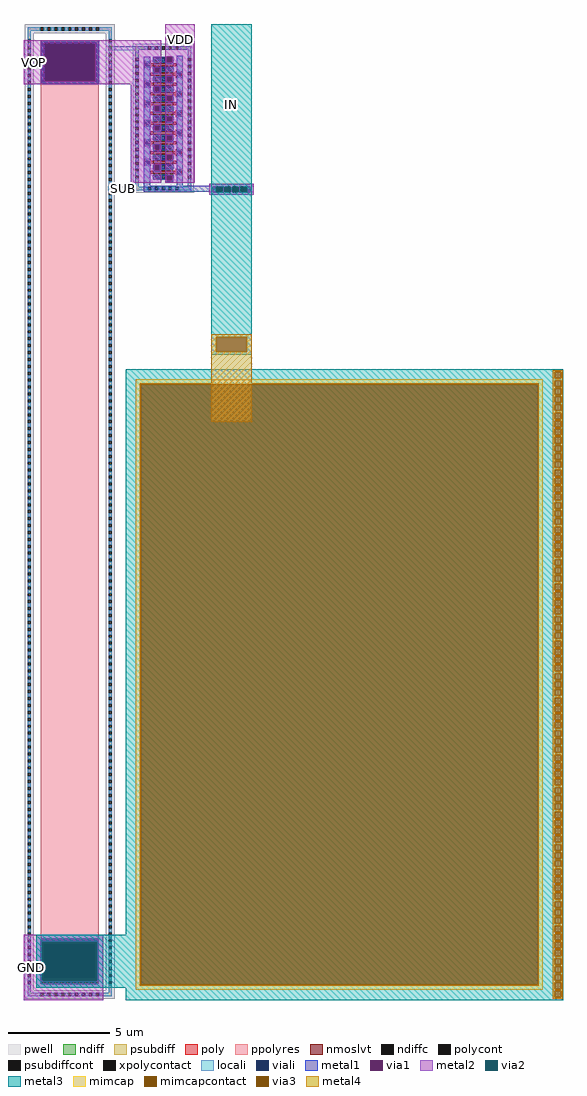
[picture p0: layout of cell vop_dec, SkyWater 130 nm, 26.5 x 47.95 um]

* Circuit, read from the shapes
.subckt vop_dec GND VOP VDD IN SUB
XM1 VOP IN VDD SUB sky130_fd_pr__nfet_01v8_lvt w=1 l=0.15 m=12
XC2 IN GND sky130_fd_pr__cap_mim_m3_1 w=20 l=30
XR3 VOP GND SUB sky130_fd_pr__res_high_po w=2.85 l=42
.ends

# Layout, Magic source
magic
tech sky130A
magscale 1 2
<< locali >>
rect 6430 9730 6730 9770
rect 6430 8350 6730 8390
<< metal1 >>
rect 5770 9801 6340 9830
rect 5770 9429 5800 9801
rect 6300 9429 6340 9801
rect 5770 9400 6340 9429
rect 6780 8400 6840 9670
rect 6870 9666 7070 9670
rect 6870 9614 7004 9666
rect 7056 9614 7070 9666
rect 6870 9610 7070 9614
rect 6990 9600 7070 9610
rect 6870 9566 7070 9570
rect 6870 9514 6884 9566
rect 6936 9520 7070 9566
rect 6936 9514 6950 9520
rect 6870 9500 6950 9514
rect 6990 9476 7070 9480
rect 6990 9470 7004 9476
rect 6870 9424 7004 9470
rect 7056 9424 7070 9476
rect 6870 9420 7070 9424
rect 6990 9410 7070 9420
rect 6870 9376 7070 9380
rect 6870 9324 6884 9376
rect 6936 9324 7070 9376
rect 6870 9320 7070 9324
rect 6870 9310 6950 9320
rect 6990 9286 7070 9290
rect 6990 9280 7004 9286
rect 6870 9234 7004 9280
rect 7056 9234 7070 9286
rect 6870 9230 7070 9234
rect 6990 9220 7070 9230
rect 6870 9186 6950 9190
rect 6870 9134 6884 9186
rect 6936 9180 6950 9186
rect 6936 9134 7070 9180
rect 6870 9130 7070 9134
rect 6870 9120 6950 9130
rect 6870 9086 7070 9090
rect 6870 9040 7004 9086
rect 6990 9034 7004 9040
rect 7056 9034 7070 9086
rect 6990 9020 7070 9034
rect 6870 8996 6950 9000
rect 6870 8944 6884 8996
rect 6936 8990 6950 8996
rect 6936 8944 7070 8990
rect 6870 8940 7070 8944
rect 6870 8930 6950 8940
rect 6870 8896 7070 8900
rect 6870 8850 7004 8896
rect 6990 8844 7004 8850
rect 7056 8844 7070 8896
rect 6990 8830 7070 8844
rect 6870 8806 6950 8810
rect 6870 8754 6884 8806
rect 6936 8800 6950 8806
rect 6936 8754 7070 8800
rect 6870 8750 7070 8754
rect 6870 8740 6950 8750
rect 6990 8706 7070 8710
rect 6990 8700 7004 8706
rect 6870 8654 7004 8700
rect 7056 8654 7070 8706
rect 6870 8650 7070 8654
rect 6990 8640 7070 8650
rect 6870 8606 7070 8610
rect 6870 8554 6884 8606
rect 6936 8560 7070 8606
rect 6936 8554 6950 8560
rect 6870 8540 6950 8554
rect 6870 8506 7070 8510
rect 6870 8460 7004 8506
rect 6990 8454 7004 8460
rect 7056 8454 7070 8506
rect 6990 8440 7070 8454
rect 7100 8400 7160 9680
rect 7420 8400 7860 8420
rect 6780 8391 7860 8400
rect 6780 8340 7454 8391
rect 7420 8339 7454 8340
rect 7506 8339 7518 8391
rect 7570 8339 7582 8391
rect 7634 8339 7646 8391
rect 7698 8339 7710 8391
rect 7762 8339 7774 8391
rect 7826 8339 7860 8391
rect 7420 8310 7860 8339
rect 5720 998 6380 1040
rect 5720 562 5768 998
rect 6332 562 6380 998
rect 5720 520 6380 562
<< via1 >>
rect 5800 9429 6300 9801
rect 7004 9614 7056 9666
rect 6884 9514 6936 9566
rect 7004 9424 7056 9476
rect 6884 9324 6936 9376
rect 7004 9234 7056 9286
rect 6884 9134 6936 9186
rect 7004 9034 7056 9086
rect 6884 8944 6936 8996
rect 7004 8844 7056 8896
rect 6884 8754 6936 8806
rect 7004 8654 7056 8706
rect 6884 8554 6936 8606
rect 7004 8454 7056 8506
rect 7454 8339 7506 8391
rect 7518 8339 7570 8391
rect 7582 8339 7634 8391
rect 7646 8339 7698 8391
rect 7710 8339 7762 8391
rect 7774 8339 7826 8391
rect 5768 562 6332 998
<< metal2 >>
rect 5600 9801 6950 9830
rect 5600 9429 5800 9801
rect 6300 9566 6950 9801
rect 6300 9514 6884 9566
rect 6936 9514 6950 9566
rect 6300 9429 6950 9514
rect 5600 9400 6950 9429
rect 6650 9376 6950 9400
rect 6650 9324 6884 9376
rect 6936 9324 6950 9376
rect 6650 9186 6950 9324
rect 6650 9134 6884 9186
rect 6936 9134 6950 9186
rect 6650 8996 6950 9134
rect 6650 8944 6884 8996
rect 6936 8944 6950 8996
rect 6650 8806 6950 8944
rect 6650 8754 6884 8806
rect 6936 8754 6950 8806
rect 6650 8606 6950 8754
rect 6650 8554 6884 8606
rect 6936 8554 6950 8606
rect 6650 8430 6950 8554
rect 6990 9666 7280 9990
rect 6990 9614 7004 9666
rect 7056 9614 7280 9666
rect 6990 9476 7280 9614
rect 6990 9424 7004 9476
rect 7056 9424 7280 9476
rect 6990 9286 7280 9424
rect 6990 9234 7004 9286
rect 7056 9234 7280 9286
rect 6990 9086 7280 9234
rect 6990 9034 7004 9086
rect 7056 9034 7280 9086
rect 6990 8896 7280 9034
rect 6990 8844 7004 8896
rect 7056 8844 7280 8896
rect 6990 8706 7280 8844
rect 6990 8654 7004 8706
rect 7056 8654 7280 8706
rect 6990 8506 7280 8654
rect 6990 8454 7004 8506
rect 7056 8454 7280 8506
rect 6990 8430 7280 8454
rect 7420 8393 7860 8420
rect 7420 8391 7492 8393
rect 7548 8391 7572 8393
rect 7628 8391 7652 8393
rect 7708 8391 7732 8393
rect 7788 8391 7860 8393
rect 7420 8339 7454 8391
rect 7570 8339 7572 8391
rect 7634 8339 7646 8391
rect 7708 8339 7710 8391
rect 7826 8339 7860 8391
rect 7420 8337 7492 8339
rect 7548 8337 7572 8339
rect 7628 8337 7652 8339
rect 7708 8337 7732 8339
rect 7788 8337 7860 8339
rect 7420 8310 7860 8337
rect 5600 998 6380 1040
rect 5600 562 5768 998
rect 6332 562 6380 998
rect 5600 400 6380 562
<< via2 >>
rect 7492 8391 7548 8393
rect 7572 8391 7628 8393
rect 7652 8391 7708 8393
rect 7732 8391 7788 8393
rect 7492 8339 7506 8391
rect 7506 8339 7518 8391
rect 7518 8339 7548 8391
rect 7572 8339 7582 8391
rect 7582 8339 7628 8391
rect 7652 8339 7698 8391
rect 7698 8339 7708 8391
rect 7732 8339 7762 8391
rect 7762 8339 7774 8391
rect 7774 8339 7788 8391
rect 7492 8337 7548 8339
rect 7572 8337 7628 8339
rect 7652 8337 7708 8339
rect 7732 8337 7788 8339
rect 5782 592 6318 968
<< metal3 >>
rect 7440 8393 7840 9990
rect 7440 8337 7492 8393
rect 7548 8337 7572 8393
rect 7628 8337 7652 8393
rect 7708 8337 7732 8393
rect 7788 8337 7840 8393
rect 7440 6912 7840 8337
rect 7440 6768 7488 6912
rect 7792 6768 7840 6912
rect 7440 6740 7840 6768
rect 5720 968 6660 1040
rect 5720 592 5782 968
rect 6318 592 6660 968
rect 5720 520 6660 592
<< via3 >>
rect 7488 6768 7792 6912
<< metal4 >>
rect 7440 6912 7840 6940
rect 7440 6768 7488 6912
rect 7792 6768 7840 6912
rect 7440 6080 7840 6768
use sky130_fd_pr__cap_mim_m3_1_4RCNTW  XC2
transform 1 0 8750 0 1 3500
box -2150 -3100 2149 3100
use sky130_fd_pr__nfet_01v8_lvt_6BNFGK  XM41
transform 0 1 6970 -1 0 9063
box -733 -300 733 300
use sky130_fd_pr__res_high_po_2p85_MXEQGY  XR21
transform 1 0 6051 0 1 5198
box -441 -4788 441 4788
<< labels >>
rlabel metal2 s 5600 400 5760 1040 4 GND
port 1 nsew
rlabel metal2 s 5600 9400 5780 9830 4 VOP
port 2 nsew
rlabel metal2 s 6990 9680 7280 9990 4 VDD
port 3 nsew
rlabel metal3 s 7440 8410 7840 9990 4 IN
port 4 nsew
rlabel locali s 6430 8350 6730 8390 4 SUB
port 5 nsew
<< end >>

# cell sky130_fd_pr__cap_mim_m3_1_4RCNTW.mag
magic
tech sky130A
magscale 1 2
<< metal3 >>
rect -2150 3072 2149 3100
rect -2150 3008 2065 3072
rect 2129 3008 2149 3072
rect -2150 2992 2149 3008
rect -2150 2928 2065 2992
rect 2129 2928 2149 2992
rect -2150 2912 2149 2928
rect -2150 2848 2065 2912
rect 2129 2848 2149 2912
rect -2150 2832 2149 2848
rect -2150 2768 2065 2832
rect 2129 2768 2149 2832
rect -2150 2752 2149 2768
rect -2150 2688 2065 2752
rect 2129 2688 2149 2752
rect -2150 2672 2149 2688
rect -2150 2608 2065 2672
rect 2129 2608 2149 2672
rect -2150 2592 2149 2608
rect -2150 2528 2065 2592
rect 2129 2528 2149 2592
rect -2150 2512 2149 2528
rect -2150 2448 2065 2512
rect 2129 2448 2149 2512
rect -2150 2432 2149 2448
rect -2150 2368 2065 2432
rect 2129 2368 2149 2432
rect -2150 2352 2149 2368
rect -2150 2288 2065 2352
rect 2129 2288 2149 2352
rect -2150 2272 2149 2288
rect -2150 2208 2065 2272
rect 2129 2208 2149 2272
rect -2150 2192 2149 2208
rect -2150 2128 2065 2192
rect 2129 2128 2149 2192
rect -2150 2112 2149 2128
rect -2150 2048 2065 2112
rect 2129 2048 2149 2112
rect -2150 2032 2149 2048
rect -2150 1968 2065 2032
rect 2129 1968 2149 2032
rect -2150 1952 2149 1968
rect -2150 1888 2065 1952
rect 2129 1888 2149 1952
rect -2150 1872 2149 1888
rect -2150 1808 2065 1872
rect 2129 1808 2149 1872
rect -2150 1792 2149 1808
rect -2150 1728 2065 1792
rect 2129 1728 2149 1792
rect -2150 1712 2149 1728
rect -2150 1648 2065 1712
rect 2129 1648 2149 1712
rect -2150 1632 2149 1648
rect -2150 1568 2065 1632
rect 2129 1568 2149 1632
rect -2150 1552 2149 1568
rect -2150 1488 2065 1552
rect 2129 1488 2149 1552
rect -2150 1472 2149 1488
rect -2150 1408 2065 1472
rect 2129 1408 2149 1472
rect -2150 1392 2149 1408
rect -2150 1328 2065 1392
rect 2129 1328 2149 1392
rect -2150 1312 2149 1328
rect -2150 1248 2065 1312
rect 2129 1248 2149 1312
rect -2150 1232 2149 1248
rect -2150 1168 2065 1232
rect 2129 1168 2149 1232
rect -2150 1152 2149 1168
rect -2150 1088 2065 1152
rect 2129 1088 2149 1152
rect -2150 1072 2149 1088
rect -2150 1008 2065 1072
rect 2129 1008 2149 1072
rect -2150 992 2149 1008
rect -2150 928 2065 992
rect 2129 928 2149 992
rect -2150 912 2149 928
rect -2150 848 2065 912
rect 2129 848 2149 912
rect -2150 832 2149 848
rect -2150 768 2065 832
rect 2129 768 2149 832
rect -2150 752 2149 768
rect -2150 688 2065 752
rect 2129 688 2149 752
rect -2150 672 2149 688
rect -2150 608 2065 672
rect 2129 608 2149 672
rect -2150 592 2149 608
rect -2150 528 2065 592
rect 2129 528 2149 592
rect -2150 512 2149 528
rect -2150 448 2065 512
rect 2129 448 2149 512
rect -2150 432 2149 448
rect -2150 368 2065 432
rect 2129 368 2149 432
rect -2150 352 2149 368
rect -2150 288 2065 352
rect 2129 288 2149 352
rect -2150 272 2149 288
rect -2150 208 2065 272
rect 2129 208 2149 272
rect -2150 192 2149 208
rect -2150 128 2065 192
rect 2129 128 2149 192
rect -2150 112 2149 128
rect -2150 48 2065 112
rect 2129 48 2149 112
rect -2150 32 2149 48
rect -2150 -32 2065 32
rect 2129 -32 2149 32
rect -2150 -48 2149 -32
rect -2150 -112 2065 -48
rect 2129 -112 2149 -48
rect -2150 -128 2149 -112
rect -2150 -192 2065 -128
rect 2129 -192 2149 -128
rect -2150 -208 2149 -192
rect -2150 -272 2065 -208
rect 2129 -272 2149 -208
rect -2150 -288 2149 -272
rect -2150 -352 2065 -288
rect 2129 -352 2149 -288
rect -2150 -368 2149 -352
rect -2150 -432 2065 -368
rect 2129 -432 2149 -368
rect -2150 -448 2149 -432
rect -2150 -512 2065 -448
rect 2129 -512 2149 -448
rect -2150 -528 2149 -512
rect -2150 -592 2065 -528
rect 2129 -592 2149 -528
rect -2150 -608 2149 -592
rect -2150 -672 2065 -608
rect 2129 -672 2149 -608
rect -2150 -688 2149 -672
rect -2150 -752 2065 -688
rect 2129 -752 2149 -688
rect -2150 -768 2149 -752
rect -2150 -832 2065 -768
rect 2129 -832 2149 -768
rect -2150 -848 2149 -832
rect -2150 -912 2065 -848
rect 2129 -912 2149 -848
rect -2150 -928 2149 -912
rect -2150 -992 2065 -928
rect 2129 -992 2149 -928
rect -2150 -1008 2149 -992
rect -2150 -1072 2065 -1008
rect 2129 -1072 2149 -1008
rect -2150 -1088 2149 -1072
rect -2150 -1152 2065 -1088
rect 2129 -1152 2149 -1088
rect -2150 -1168 2149 -1152
rect -2150 -1232 2065 -1168
rect 2129 -1232 2149 -1168
rect -2150 -1248 2149 -1232
rect -2150 -1312 2065 -1248
rect 2129 -1312 2149 -1248
rect -2150 -1328 2149 -1312
rect -2150 -1392 2065 -1328
rect 2129 -1392 2149 -1328
rect -2150 -1408 2149 -1392
rect -2150 -1472 2065 -1408
rect 2129 -1472 2149 -1408
rect -2150 -1488 2149 -1472
rect -2150 -1552 2065 -1488
rect 2129 -1552 2149 -1488
rect -2150 -1568 2149 -1552
rect -2150 -1632 2065 -1568
rect 2129 -1632 2149 -1568
rect -2150 -1648 2149 -1632
rect -2150 -1712 2065 -1648
rect 2129 -1712 2149 -1648
rect -2150 -1728 2149 -1712
rect -2150 -1792 2065 -1728
rect 2129 -1792 2149 -1728
rect -2150 -1808 2149 -1792
rect -2150 -1872 2065 -1808
rect 2129 -1872 2149 -1808
rect -2150 -1888 2149 -1872
rect -2150 -1952 2065 -1888
rect 2129 -1952 2149 -1888
rect -2150 -1968 2149 -1952
rect -2150 -2032 2065 -1968
rect 2129 -2032 2149 -1968
rect -2150 -2048 2149 -2032
rect -2150 -2112 2065 -2048
rect 2129 -2112 2149 -2048
rect -2150 -2128 2149 -2112
rect -2150 -2192 2065 -2128
rect 2129 -2192 2149 -2128
rect -2150 -2208 2149 -2192
rect -2150 -2272 2065 -2208
rect 2129 -2272 2149 -2208
rect -2150 -2288 2149 -2272
rect -2150 -2352 2065 -2288
rect 2129 -2352 2149 -2288
rect -2150 -2368 2149 -2352
rect -2150 -2432 2065 -2368
rect 2129 -2432 2149 -2368
rect -2150 -2448 2149 -2432
rect -2150 -2512 2065 -2448
rect 2129 -2512 2149 -2448
rect -2150 -2528 2149 -2512
rect -2150 -2592 2065 -2528
rect 2129 -2592 2149 -2528
rect -2150 -2608 2149 -2592
rect -2150 -2672 2065 -2608
rect 2129 -2672 2149 -2608
rect -2150 -2688 2149 -2672
rect -2150 -2752 2065 -2688
rect 2129 -2752 2149 -2688
rect -2150 -2768 2149 -2752
rect -2150 -2832 2065 -2768
rect 2129 -2832 2149 -2768
rect -2150 -2848 2149 -2832
rect -2150 -2912 2065 -2848
rect 2129 -2912 2149 -2848
rect -2150 -2928 2149 -2912
rect -2150 -2992 2065 -2928
rect 2129 -2992 2149 -2928
rect -2150 -3008 2149 -2992
rect -2150 -3072 2065 -3008
rect 2129 -3072 2149 -3008
rect -2150 -3100 2149 -3072
<< via3 >>
rect 2065 3008 2129 3072
rect 2065 2928 2129 2992
rect 2065 2848 2129 2912
rect 2065 2768 2129 2832
rect 2065 2688 2129 2752
rect 2065 2608 2129 2672
rect 2065 2528 2129 2592
rect 2065 2448 2129 2512
rect 2065 2368 2129 2432
rect 2065 2288 2129 2352
rect 2065 2208 2129 2272
rect 2065 2128 2129 2192
rect 2065 2048 2129 2112
rect 2065 1968 2129 2032
rect 2065 1888 2129 1952
rect 2065 1808 2129 1872
rect 2065 1728 2129 1792
rect 2065 1648 2129 1712
rect 2065 1568 2129 1632
rect 2065 1488 2129 1552
rect 2065 1408 2129 1472
rect 2065 1328 2129 1392
rect 2065 1248 2129 1312
rect 2065 1168 2129 1232
rect 2065 1088 2129 1152
rect 2065 1008 2129 1072
rect 2065 928 2129 992
rect 2065 848 2129 912
rect 2065 768 2129 832
rect 2065 688 2129 752
rect 2065 608 2129 672
rect 2065 528 2129 592
rect 2065 448 2129 512
rect 2065 368 2129 432
rect 2065 288 2129 352
rect 2065 208 2129 272
rect 2065 128 2129 192
rect 2065 48 2129 112
rect 2065 -32 2129 32
rect 2065 -112 2129 -48
rect 2065 -192 2129 -128
rect 2065 -272 2129 -208
rect 2065 -352 2129 -288
rect 2065 -432 2129 -368
rect 2065 -512 2129 -448
rect 2065 -592 2129 -528
rect 2065 -672 2129 -608
rect 2065 -752 2129 -688
rect 2065 -832 2129 -768
rect 2065 -912 2129 -848
rect 2065 -992 2129 -928
rect 2065 -1072 2129 -1008
rect 2065 -1152 2129 -1088
rect 2065 -1232 2129 -1168
rect 2065 -1312 2129 -1248
rect 2065 -1392 2129 -1328
rect 2065 -1472 2129 -1408
rect 2065 -1552 2129 -1488
rect 2065 -1632 2129 -1568
rect 2065 -1712 2129 -1648
rect 2065 -1792 2129 -1728
rect 2065 -1872 2129 -1808
rect 2065 -1952 2129 -1888
rect 2065 -2032 2129 -1968
rect 2065 -2112 2129 -2048
rect 2065 -2192 2129 -2128
rect 2065 -2272 2129 -2208
rect 2065 -2352 2129 -2288
rect 2065 -2432 2129 -2368
rect 2065 -2512 2129 -2448
rect 2065 -2592 2129 -2528
rect 2065 -2672 2129 -2608
rect 2065 -2752 2129 -2688
rect 2065 -2832 2129 -2768
rect 2065 -2912 2129 -2848
rect 2065 -2992 2129 -2928
rect 2065 -3072 2129 -3008
<< mimcap >>
rect -2050 2952 1950 3000
rect -2050 -2952 -2002 2952
rect 1902 -2952 1950 2952
rect -2050 -3000 1950 -2952
<< mimcapcontact >>
rect -2002 -2952 1902 2952
<< metal4 >>
rect 2049 3072 2145 3088
rect 2049 3008 2065 3072
rect 2129 3008 2145 3072
rect 2049 2992 2145 3008
rect -2011 2952 1911 2961
rect -2011 -2952 -2002 2952
rect 1902 -2952 1911 2952
rect -2011 -2961 1911 -2952
rect 2049 2928 2065 2992
rect 2129 2928 2145 2992
rect 2049 2912 2145 2928
rect 2049 2848 2065 2912
rect 2129 2848 2145 2912
rect 2049 2832 2145 2848
rect 2049 2768 2065 2832
rect 2129 2768 2145 2832
rect 2049 2752 2145 2768
rect 2049 2688 2065 2752
rect 2129 2688 2145 2752
rect 2049 2672 2145 2688
rect 2049 2608 2065 2672
rect 2129 2608 2145 2672
rect 2049 2592 2145 2608
rect 2049 2528 2065 2592
rect 2129 2528 2145 2592
rect 2049 2512 2145 2528
rect 2049 2448 2065 2512
rect 2129 2448 2145 2512
rect 2049 2432 2145 2448
rect 2049 2368 2065 2432
rect 2129 2368 2145 2432
rect 2049 2352 2145 2368
rect 2049 2288 2065 2352
rect 2129 2288 2145 2352
rect 2049 2272 2145 2288
rect 2049 2208 2065 2272
rect 2129 2208 2145 2272
rect 2049 2192 2145 2208
rect 2049 2128 2065 2192
rect 2129 2128 2145 2192
rect 2049 2112 2145 2128
rect 2049 2048 2065 2112
rect 2129 2048 2145 2112
rect 2049 2032 2145 2048
rect 2049 1968 2065 2032
rect 2129 1968 2145 2032
rect 2049 1952 2145 1968
rect 2049 1888 2065 1952
rect 2129 1888 2145 1952
rect 2049 1872 2145 1888
rect 2049 1808 2065 1872
rect 2129 1808 2145 1872
rect 2049 1792 2145 1808
rect 2049 1728 2065 1792
rect 2129 1728 2145 1792
rect 2049 1712 2145 1728
rect 2049 1648 2065 1712
rect 2129 1648 2145 1712
rect 2049 1632 2145 1648
rect 2049 1568 2065 1632
rect 2129 1568 2145 1632
rect 2049 1552 2145 1568
rect 2049 1488 2065 1552
rect 2129 1488 2145 1552
rect 2049 1472 2145 1488
rect 2049 1408 2065 1472
rect 2129 1408 2145 1472
rect 2049 1392 2145 1408
rect 2049 1328 2065 1392
rect 2129 1328 2145 1392
rect 2049 1312 2145 1328
rect 2049 1248 2065 1312
rect 2129 1248 2145 1312
rect 2049 1232 2145 1248
rect 2049 1168 2065 1232
rect 2129 1168 2145 1232
rect 2049 1152 2145 1168
rect 2049 1088 2065 1152
rect 2129 1088 2145 1152
rect 2049 1072 2145 1088
rect 2049 1008 2065 1072
rect 2129 1008 2145 1072
rect 2049 992 2145 1008
rect 2049 928 2065 992
rect 2129 928 2145 992
rect 2049 912 2145 928
rect 2049 848 2065 912
rect 2129 848 2145 912
rect 2049 832 2145 848
rect 2049 768 2065 832
rect 2129 768 2145 832
rect 2049 752 2145 768
rect 2049 688 2065 752
rect 2129 688 2145 752
rect 2049 672 2145 688
rect 2049 608 2065 672
rect 2129 608 2145 672
rect 2049 592 2145 608
rect 2049 528 2065 592
rect 2129 528 2145 592
rect 2049 512 2145 528
rect 2049 448 2065 512
rect 2129 448 2145 512
rect 2049 432 2145 448
rect 2049 368 2065 432
rect 2129 368 2145 432
rect 2049 352 2145 368
rect 2049 288 2065 352
rect 2129 288 2145 352
rect 2049 272 2145 288
rect 2049 208 2065 272
rect 2129 208 2145 272
rect 2049 192 2145 208
rect 2049 128 2065 192
rect 2129 128 2145 192
rect 2049 112 2145 128
rect 2049 48 2065 112
rect 2129 48 2145 112
rect 2049 32 2145 48
rect 2049 -32 2065 32
rect 2129 -32 2145 32
rect 2049 -48 2145 -32
rect 2049 -112 2065 -48
rect 2129 -112 2145 -48
rect 2049 -128 2145 -112
rect 2049 -192 2065 -128
rect 2129 -192 2145 -128
rect 2049 -208 2145 -192
rect 2049 -272 2065 -208
rect 2129 -272 2145 -208
rect 2049 -288 2145 -272
rect 2049 -352 2065 -288
rect 2129 -352 2145 -288
rect 2049 -368 2145 -352
rect 2049 -432 2065 -368
rect 2129 -432 2145 -368
rect 2049 -448 2145 -432
rect 2049 -512 2065 -448
rect 2129 -512 2145 -448
rect 2049 -528 2145 -512
rect 2049 -592 2065 -528
rect 2129 -592 2145 -528
rect 2049 -608 2145 -592
rect 2049 -672 2065 -608
rect 2129 -672 2145 -608
rect 2049 -688 2145 -672
rect 2049 -752 2065 -688
rect 2129 -752 2145 -688
rect 2049 -768 2145 -752
rect 2049 -832 2065 -768
rect 2129 -832 2145 -768
rect 2049 -848 2145 -832
rect 2049 -912 2065 -848
rect 2129 -912 2145 -848
rect 2049 -928 2145 -912
rect 2049 -992 2065 -928
rect 2129 -992 2145 -928
rect 2049 -1008 2145 -992
rect 2049 -1072 2065 -1008
rect 2129 -1072 2145 -1008
rect 2049 -1088 2145 -1072
rect 2049 -1152 2065 -1088
rect 2129 -1152 2145 -1088
rect 2049 -1168 2145 -1152
rect 2049 -1232 2065 -1168
rect 2129 -1232 2145 -1168
rect 2049 -1248 2145 -1232
rect 2049 -1312 2065 -1248
rect 2129 -1312 2145 -1248
rect 2049 -1328 2145 -1312
rect 2049 -1392 2065 -1328
rect 2129 -1392 2145 -1328
rect 2049 -1408 2145 -1392
rect 2049 -1472 2065 -1408
rect 2129 -1472 2145 -1408
rect 2049 -1488 2145 -1472
rect 2049 -1552 2065 -1488
rect 2129 -1552 2145 -1488
rect 2049 -1568 2145 -1552
rect 2049 -1632 2065 -1568
rect 2129 -1632 2145 -1568
rect 2049 -1648 2145 -1632
rect 2049 -1712 2065 -1648
rect 2129 -1712 2145 -1648
rect 2049 -1728 2145 -1712
rect 2049 -1792 2065 -1728
rect 2129 -1792 2145 -1728
rect 2049 -1808 2145 -1792
rect 2049 -1872 2065 -1808
rect 2129 -1872 2145 -1808
rect 2049 -1888 2145 -1872
rect 2049 -1952 2065 -1888
rect 2129 -1952 2145 -1888
rect 2049 -1968 2145 -1952
rect 2049 -2032 2065 -1968
rect 2129 -2032 2145 -1968
rect 2049 -2048 2145 -2032
rect 2049 -2112 2065 -2048
rect 2129 -2112 2145 -2048
rect 2049 -2128 2145 -2112
rect 2049 -2192 2065 -2128
rect 2129 -2192 2145 -2128
rect 2049 -2208 2145 -2192
rect 2049 -2272 2065 -2208
rect 2129 -2272 2145 -2208
rect 2049 -2288 2145 -2272
rect 2049 -2352 2065 -2288
rect 2129 -2352 2145 -2288
rect 2049 -2368 2145 -2352
rect 2049 -2432 2065 -2368
rect 2129 -2432 2145 -2368
rect 2049 -2448 2145 -2432
rect 2049 -2512 2065 -2448
rect 2129 -2512 2145 -2448
rect 2049 -2528 2145 -2512
rect 2049 -2592 2065 -2528
rect 2129 -2592 2145 -2528
rect 2049 -2608 2145 -2592
rect 2049 -2672 2065 -2608
rect 2129 -2672 2145 -2608
rect 2049 -2688 2145 -2672
rect 2049 -2752 2065 -2688
rect 2129 -2752 2145 -2688
rect 2049 -2768 2145 -2752
rect 2049 -2832 2065 -2768
rect 2129 -2832 2145 -2768
rect 2049 -2848 2145 -2832
rect 2049 -2912 2065 -2848
rect 2129 -2912 2145 -2848
rect 2049 -2928 2145 -2912
rect 2049 -2992 2065 -2928
rect 2129 -2992 2145 -2928
rect 2049 -3008 2145 -2992
rect 2049 -3072 2065 -3008
rect 2129 -3072 2145 -3008
rect 2049 -3088 2145 -3072
<< properties >>
string FIXED_BBOX -2150 -3100 2050 3100
<< end >>

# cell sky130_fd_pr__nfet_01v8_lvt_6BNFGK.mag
magic
tech sky130A
magscale 1 2
<< pwell >>
rect -733 -300 733 300
<< nmoslvt >>
rect -543 -100 -513 100
rect -447 -100 -417 100
rect -351 -100 -321 100
rect -255 -100 -225 100
rect -159 -100 -129 100
rect -63 -100 -33 100
rect 33 -100 63 100
rect 129 -100 159 100
rect 225 -100 255 100
rect 321 -100 351 100
rect 417 -100 447 100
rect 513 -100 543 100
<< ndiff >>
rect -605 85 -543 100
rect -605 51 -593 85
rect -559 51 -543 85
rect -605 17 -543 51
rect -605 -17 -593 17
rect -559 -17 -543 17
rect -605 -51 -543 -17
rect -605 -85 -593 -51
rect -559 -85 -543 -51
rect -605 -100 -543 -85
rect -513 85 -447 100
rect -513 51 -497 85
rect -463 51 -447 85
rect -513 17 -447 51
rect -513 -17 -497 17
rect -463 -17 -447 17
rect -513 -51 -447 -17
rect -513 -85 -497 -51
rect -463 -85 -447 -51
rect -513 -100 -447 -85
rect -417 85 -351 100
rect -417 51 -401 85
rect -367 51 -351 85
rect -417 17 -351 51
rect -417 -17 -401 17
rect -367 -17 -351 17
rect -417 -51 -351 -17
rect -417 -85 -401 -51
rect -367 -85 -351 -51
rect -417 -100 -351 -85
rect -321 85 -255 100
rect -321 51 -305 85
rect -271 51 -255 85
rect -321 17 -255 51
rect -321 -17 -305 17
rect -271 -17 -255 17
rect -321 -51 -255 -17
rect -321 -85 -305 -51
rect -271 -85 -255 -51
rect -321 -100 -255 -85
rect -225 85 -159 100
rect -225 51 -209 85
rect -175 51 -159 85
rect -225 17 -159 51
rect -225 -17 -209 17
rect -175 -17 -159 17
rect -225 -51 -159 -17
rect -225 -85 -209 -51
rect -175 -85 -159 -51
rect -225 -100 -159 -85
rect -129 85 -63 100
rect -129 51 -113 85
rect -79 51 -63 85
rect -129 17 -63 51
rect -129 -17 -113 17
rect -79 -17 -63 17
rect -129 -51 -63 -17
rect -129 -85 -113 -51
rect -79 -85 -63 -51
rect -129 -100 -63 -85
rect -33 85 33 100
rect -33 51 -17 85
rect 17 51 33 85
rect -33 17 33 51
rect -33 -17 -17 17
rect 17 -17 33 17
rect -33 -51 33 -17
rect -33 -85 -17 -51
rect 17 -85 33 -51
rect -33 -100 33 -85
rect 63 85 129 100
rect 63 51 79 85
rect 113 51 129 85
rect 63 17 129 51
rect 63 -17 79 17
rect 113 -17 129 17
rect 63 -51 129 -17
rect 63 -85 79 -51
rect 113 -85 129 -51
rect 63 -100 129 -85
rect 159 85 225 100
rect 159 51 175 85
rect 209 51 225 85
rect 159 17 225 51
rect 159 -17 175 17
rect 209 -17 225 17
rect 159 -51 225 -17
rect 159 -85 175 -51
rect 209 -85 225 -51
rect 159 -100 225 -85
rect 255 85 321 100
rect 255 51 271 85
rect 305 51 321 85
rect 255 17 321 51
rect 255 -17 271 17
rect 305 -17 321 17
rect 255 -51 321 -17
rect 255 -85 271 -51
rect 305 -85 321 -51
rect 255 -100 321 -85
rect 351 85 417 100
rect 351 51 367 85
rect 401 51 417 85
rect 351 17 417 51
rect 351 -17 367 17
rect 401 -17 417 17
rect 351 -51 417 -17
rect 351 -85 367 -51
rect 401 -85 417 -51
rect 351 -100 417 -85
rect 447 85 513 100
rect 447 51 463 85
rect 497 51 513 85
rect 447 17 513 51
rect 447 -17 463 17
rect 497 -17 513 17
rect 447 -51 513 -17
rect 447 -85 463 -51
rect 497 -85 513 -51
rect 447 -100 513 -85
rect 543 85 605 100
rect 543 51 559 85
rect 593 51 605 85
rect 543 17 605 51
rect 543 -17 559 17
rect 593 -17 605 17
rect 543 -51 605 -17
rect 543 -85 559 -51
rect 593 -85 605 -51
rect 543 -100 605 -85
<< ndiffc >>
rect -593 51 -559 85
rect -593 -17 -559 17
rect -593 -85 -559 -51
rect -497 51 -463 85
rect -497 -17 -463 17
rect -497 -85 -463 -51
rect -401 51 -367 85
rect -401 -17 -367 17
rect -401 -85 -367 -51
rect -305 51 -271 85
rect -305 -17 -271 17
rect -305 -85 -271 -51
rect -209 51 -175 85
rect -209 -17 -175 17
rect -209 -85 -175 -51
rect -113 51 -79 85
rect -113 -17 -79 17
rect -113 -85 -79 -51
rect -17 51 17 85
rect -17 -17 17 17
rect -17 -85 17 -51
rect 79 51 113 85
rect 79 -17 113 17
rect 79 -85 113 -51
rect 175 51 209 85
rect 175 -17 209 17
rect 175 -85 209 -51
rect 271 51 305 85
rect 271 -17 305 17
rect 271 -85 305 -51
rect 367 51 401 85
rect 367 -17 401 17
rect 367 -85 401 -51
rect 463 51 497 85
rect 463 -17 497 17
rect 463 -85 497 -51
rect 559 51 593 85
rect 559 -17 593 17
rect 559 -85 593 -51
<< psubdiff >>
rect -707 240 -595 274
rect -561 240 -527 274
rect -493 240 -459 274
rect -425 240 -391 274
rect -357 240 -323 274
rect -289 240 -255 274
rect -221 240 -187 274
rect -153 240 -119 274
rect -85 240 -51 274
rect -17 240 17 274
rect 51 240 85 274
rect 119 240 153 274
rect 187 240 221 274
rect 255 240 289 274
rect 323 240 357 274
rect 391 240 425 274
rect 459 240 493 274
rect 527 240 561 274
rect 595 240 707 274
rect -707 153 -673 240
rect -707 85 -673 119
rect 673 153 707 240
rect -707 17 -673 51
rect -707 -51 -673 -17
rect -707 -119 -673 -85
rect 673 85 707 119
rect 673 17 707 51
rect 673 -51 707 -17
rect -707 -240 -673 -153
rect 673 -119 707 -85
rect 673 -240 707 -153
rect -707 -274 -595 -240
rect -561 -274 -527 -240
rect -493 -274 -459 -240
rect -425 -274 -391 -240
rect -357 -274 -323 -240
rect -289 -274 -255 -240
rect -221 -274 -187 -240
rect -153 -274 -119 -240
rect -85 -274 -51 -240
rect -17 -274 17 -240
rect 51 -274 85 -240
rect 119 -274 153 -240
rect 187 -274 221 -240
rect 255 -274 289 -240
rect 323 -274 357 -240
rect 391 -274 425 -240
rect 459 -274 493 -240
rect 527 -274 561 -240
rect 595 -274 707 -240
<< psubdiffcont >>
rect -595 240 -561 274
rect -527 240 -493 274
rect -459 240 -425 274
rect -391 240 -357 274
rect -323 240 -289 274
rect -255 240 -221 274
rect -187 240 -153 274
rect -119 240 -85 274
rect -51 240 -17 274
rect 17 240 51 274
rect 85 240 119 274
rect 153 240 187 274
rect 221 240 255 274
rect 289 240 323 274
rect 357 240 391 274
rect 425 240 459 274
rect 493 240 527 274
rect 561 240 595 274
rect -707 119 -673 153
rect 673 119 707 153
rect -707 51 -673 85
rect -707 -17 -673 17
rect -707 -85 -673 -51
rect 673 51 707 85
rect 673 -17 707 17
rect 673 -85 707 -51
rect -707 -153 -673 -119
rect 673 -153 707 -119
rect -595 -274 -561 -240
rect -527 -274 -493 -240
rect -459 -274 -425 -240
rect -391 -274 -357 -240
rect -323 -274 -289 -240
rect -255 -274 -221 -240
rect -187 -274 -153 -240
rect -119 -274 -85 -240
rect -51 -274 -17 -240
rect 17 -274 51 -240
rect 85 -274 119 -240
rect 153 -274 187 -240
rect 221 -274 255 -240
rect 289 -274 323 -240
rect 357 -274 391 -240
rect 425 -274 459 -240
rect 493 -274 527 -240
rect 561 -274 595 -240
<< poly >>
rect -465 172 -399 188
rect -465 138 -449 172
rect -415 138 -399 172
rect -543 100 -513 126
rect -465 122 -399 138
rect -273 172 -207 188
rect -273 138 -257 172
rect -223 138 -207 172
rect -447 100 -417 122
rect -351 100 -321 126
rect -273 122 -207 138
rect -81 172 -15 188
rect -81 138 -65 172
rect -31 138 -15 172
rect -255 100 -225 122
rect -159 100 -129 126
rect -81 122 -15 138
rect 111 172 177 188
rect 111 138 127 172
rect 161 138 177 172
rect -63 100 -33 122
rect 33 100 63 126
rect 111 122 177 138
rect 303 172 369 188
rect 303 138 319 172
rect 353 138 369 172
rect 129 100 159 122
rect 225 100 255 126
rect 303 122 369 138
rect 495 172 561 188
rect 495 138 511 172
rect 545 138 561 172
rect 321 100 351 122
rect 417 100 447 126
rect 495 122 561 138
rect 513 100 543 122
rect -543 -122 -513 -100
rect -561 -138 -495 -122
rect -447 -126 -417 -100
rect -351 -122 -321 -100
rect -561 -172 -545 -138
rect -511 -172 -495 -138
rect -561 -188 -495 -172
rect -369 -138 -303 -122
rect -255 -126 -225 -100
rect -159 -122 -129 -100
rect -369 -172 -353 -138
rect -319 -172 -303 -138
rect -369 -188 -303 -172
rect -177 -138 -111 -122
rect -63 -126 -33 -100
rect 33 -122 63 -100
rect -177 -172 -161 -138
rect -127 -172 -111 -138
rect -177 -188 -111 -172
rect 15 -138 81 -122
rect 129 -126 159 -100
rect 225 -122 255 -100
rect 15 -172 31 -138
rect 65 -172 81 -138
rect 15 -188 81 -172
rect 207 -138 273 -122
rect 321 -126 351 -100
rect 417 -122 447 -100
rect 207 -172 223 -138
rect 257 -172 273 -138
rect 207 -188 273 -172
rect 399 -138 465 -122
rect 513 -126 543 -100
rect 399 -172 415 -138
rect 449 -172 465 -138
rect 399 -188 465 -172
<< polycont >>
rect -449 138 -415 172
rect -257 138 -223 172
rect -65 138 -31 172
rect 127 138 161 172
rect 319 138 353 172
rect 511 138 545 172
rect -545 -172 -511 -138
rect -353 -172 -319 -138
rect -161 -172 -127 -138
rect 31 -172 65 -138
rect 223 -172 257 -138
rect 415 -172 449 -138
<< locali >>
rect -707 240 -595 274
rect -561 240 -527 274
rect -493 240 -459 274
rect -425 240 -391 274
rect -357 240 -323 274
rect -289 240 -255 274
rect -221 240 -187 274
rect -153 240 -119 274
rect -85 240 -51 274
rect -17 240 17 274
rect 51 240 85 274
rect 119 240 153 274
rect 187 240 221 274
rect 255 240 289 274
rect 323 240 357 274
rect 391 240 425 274
rect 459 240 493 274
rect 527 240 561 274
rect 595 240 707 274
rect -707 153 -673 240
rect -465 138 -449 172
rect -415 138 -399 172
rect -273 138 -257 172
rect -223 138 -207 172
rect -81 138 -65 172
rect -31 138 -15 172
rect 111 138 127 172
rect 161 138 177 172
rect 303 138 319 172
rect 353 138 369 172
rect 495 138 511 172
rect 545 138 561 172
rect 673 153 707 240
rect -707 85 -673 119
rect -707 17 -673 51
rect -707 -51 -673 -17
rect -707 -119 -673 -85
rect -593 85 -559 104
rect -593 17 -559 19
rect -593 -19 -559 -17
rect -593 -104 -559 -85
rect -497 85 -463 104
rect -497 17 -463 19
rect -497 -19 -463 -17
rect -497 -104 -463 -85
rect -401 85 -367 104
rect -401 17 -367 19
rect -401 -19 -367 -17
rect -401 -104 -367 -85
rect -305 85 -271 104
rect -305 17 -271 19
rect -305 -19 -271 -17
rect -305 -104 -271 -85
rect -209 85 -175 104
rect -209 17 -175 19
rect -209 -19 -175 -17
rect -209 -104 -175 -85
rect -113 85 -79 104
rect -113 17 -79 19
rect -113 -19 -79 -17
rect -113 -104 -79 -85
rect -17 85 17 104
rect -17 17 17 19
rect -17 -19 17 -17
rect -17 -104 17 -85
rect 79 85 113 104
rect 79 17 113 19
rect 79 -19 113 -17
rect 79 -104 113 -85
rect 175 85 209 104
rect 175 17 209 19
rect 175 -19 209 -17
rect 175 -104 209 -85
rect 271 85 305 104
rect 271 17 305 19
rect 271 -19 305 -17
rect 271 -104 305 -85
rect 367 85 401 104
rect 367 17 401 19
rect 367 -19 401 -17
rect 367 -104 401 -85
rect 463 85 497 104
rect 463 17 497 19
rect 463 -19 497 -17
rect 463 -104 497 -85
rect 559 85 593 104
rect 559 17 593 19
rect 559 -19 593 -17
rect 559 -104 593 -85
rect 673 85 707 119
rect 673 17 707 51
rect 673 -51 707 -17
rect 673 -119 707 -85
rect -707 -240 -673 -153
rect -561 -172 -545 -138
rect -511 -172 -495 -138
rect -369 -172 -353 -138
rect -319 -172 -303 -138
rect -177 -172 -161 -138
rect -127 -172 -111 -138
rect 15 -172 31 -138
rect 65 -172 81 -138
rect 207 -172 223 -138
rect 257 -172 273 -138
rect 399 -172 415 -138
rect 449 -172 465 -138
rect 673 -240 707 -153
rect -707 -274 -595 -240
rect -561 -274 -527 -240
rect -493 -274 -459 -240
rect -425 -274 -391 -240
rect -357 -274 -323 -240
rect -289 -274 -255 -240
rect -221 -274 -187 -240
rect -153 -274 -119 -240
rect -85 -274 -51 -240
rect -17 -274 17 -240
rect 51 -274 85 -240
rect 119 -274 153 -240
rect 187 -274 221 -240
rect 255 -274 289 -240
rect 323 -274 357 -240
rect 391 -274 425 -240
rect 459 -274 493 -240
rect 527 -274 561 -240
rect 595 -274 707 -240
<< viali >>
rect -449 138 -415 172
rect -257 138 -223 172
rect -65 138 -31 172
rect 127 138 161 172
rect 319 138 353 172
rect 511 138 545 172
rect -593 51 -559 53
rect -593 19 -559 51
rect -593 -51 -559 -19
rect -593 -53 -559 -51
rect -497 51 -463 53
rect -497 19 -463 51
rect -497 -51 -463 -19
rect -497 -53 -463 -51
rect -401 51 -367 53
rect -401 19 -367 51
rect -401 -51 -367 -19
rect -401 -53 -367 -51
rect -305 51 -271 53
rect -305 19 -271 51
rect -305 -51 -271 -19
rect -305 -53 -271 -51
rect -209 51 -175 53
rect -209 19 -175 51
rect -209 -51 -175 -19
rect -209 -53 -175 -51
rect -113 51 -79 53
rect -113 19 -79 51
rect -113 -51 -79 -19
rect -113 -53 -79 -51
rect -17 51 17 53
rect -17 19 17 51
rect -17 -51 17 -19
rect -17 -53 17 -51
rect 79 51 113 53
rect 79 19 113 51
rect 79 -51 113 -19
rect 79 -53 113 -51
rect 175 51 209 53
rect 175 19 209 51
rect 175 -51 209 -19
rect 175 -53 209 -51
rect 271 51 305 53
rect 271 19 305 51
rect 271 -51 305 -19
rect 271 -53 305 -51
rect 367 51 401 53
rect 367 19 401 51
rect 367 -51 401 -19
rect 367 -53 401 -51
rect 463 51 497 53
rect 463 19 497 51
rect 463 -51 497 -19
rect 463 -53 497 -51
rect 559 51 593 53
rect 559 19 593 51
rect 559 -51 593 -19
rect 559 -53 593 -51
rect -545 -172 -511 -138
rect -353 -172 -319 -138
rect -161 -172 -127 -138
rect 31 -172 65 -138
rect 223 -172 257 -138
rect 415 -172 449 -138
<< metal1 >>
rect -461 172 -403 178
rect -461 138 -449 172
rect -415 138 -403 172
rect -461 132 -403 138
rect -269 172 -211 178
rect -269 138 -257 172
rect -223 138 -211 172
rect -269 132 -211 138
rect -77 172 -19 178
rect -77 138 -65 172
rect -31 138 -19 172
rect -77 132 -19 138
rect 115 172 173 178
rect 115 138 127 172
rect 161 138 173 172
rect 115 132 173 138
rect 307 172 365 178
rect 307 138 319 172
rect 353 138 365 172
rect 307 132 365 138
rect 499 172 557 178
rect 499 138 511 172
rect 545 138 557 172
rect 499 132 557 138
rect -599 53 -553 100
rect -599 19 -593 53
rect -559 19 -553 53
rect -599 -19 -553 19
rect -599 -53 -593 -19
rect -559 -53 -553 -19
rect -599 -100 -553 -53
rect -503 53 -457 100
rect -503 19 -497 53
rect -463 19 -457 53
rect -503 -19 -457 19
rect -503 -53 -497 -19
rect -463 -53 -457 -19
rect -503 -100 -457 -53
rect -407 53 -361 100
rect -407 19 -401 53
rect -367 19 -361 53
rect -407 -19 -361 19
rect -407 -53 -401 -19
rect -367 -53 -361 -19
rect -407 -100 -361 -53
rect -311 53 -265 100
rect -311 19 -305 53
rect -271 19 -265 53
rect -311 -19 -265 19
rect -311 -53 -305 -19
rect -271 -53 -265 -19
rect -311 -100 -265 -53
rect -215 53 -169 100
rect -215 19 -209 53
rect -175 19 -169 53
rect -215 -19 -169 19
rect -215 -53 -209 -19
rect -175 -53 -169 -19
rect -215 -100 -169 -53
rect -119 53 -73 100
rect -119 19 -113 53
rect -79 19 -73 53
rect -119 -19 -73 19
rect -119 -53 -113 -19
rect -79 -53 -73 -19
rect -119 -100 -73 -53
rect -23 53 23 100
rect -23 19 -17 53
rect 17 19 23 53
rect -23 -19 23 19
rect -23 -53 -17 -19
rect 17 -53 23 -19
rect -23 -100 23 -53
rect 73 53 119 100
rect 73 19 79 53
rect 113 19 119 53
rect 73 -19 119 19
rect 73 -53 79 -19
rect 113 -53 119 -19
rect 73 -100 119 -53
rect 169 53 215 100
rect 169 19 175 53
rect 209 19 215 53
rect 169 -19 215 19
rect 169 -53 175 -19
rect 209 -53 215 -19
rect 169 -100 215 -53
rect 265 53 311 100
rect 265 19 271 53
rect 305 19 311 53
rect 265 -19 311 19
rect 265 -53 271 -19
rect 305 -53 311 -19
rect 265 -100 311 -53
rect 361 53 407 100
rect 361 19 367 53
rect 401 19 407 53
rect 361 -19 407 19
rect 361 -53 367 -19
rect 401 -53 407 -19
rect 361 -100 407 -53
rect 457 53 503 100
rect 457 19 463 53
rect 497 19 503 53
rect 457 -19 503 19
rect 457 -53 463 -19
rect 497 -53 503 -19
rect 457 -100 503 -53
rect 553 53 599 100
rect 553 19 559 53
rect 593 19 599 53
rect 553 -19 599 19
rect 553 -53 559 -19
rect 593 -53 599 -19
rect 553 -100 599 -53
rect -557 -138 -499 -132
rect -557 -172 -545 -138
rect -511 -172 -499 -138
rect -557 -178 -499 -172
rect -365 -138 -307 -132
rect -365 -172 -353 -138
rect -319 -172 -307 -138
rect -365 -178 -307 -172
rect -173 -138 -115 -132
rect -173 -172 -161 -138
rect -127 -172 -115 -138
rect -173 -178 -115 -172
rect 19 -138 77 -132
rect 19 -172 31 -138
rect 65 -172 77 -138
rect 19 -178 77 -172
rect 211 -138 269 -132
rect 211 -172 223 -138
rect 257 -172 269 -138
rect 211 -178 269 -172
rect 403 -138 461 -132
rect 403 -172 415 -138
rect 449 -172 461 -138
rect 403 -178 461 -172
<< properties >>
string FIXED_BBOX -690 -257 690 257
<< end >>

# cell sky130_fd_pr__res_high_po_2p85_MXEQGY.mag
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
